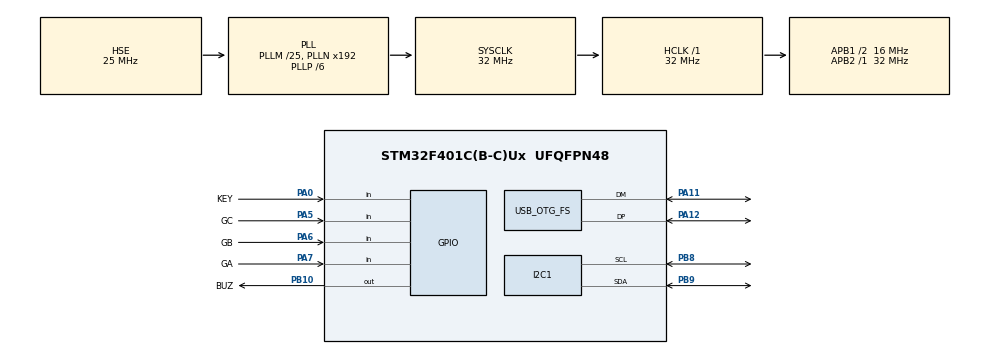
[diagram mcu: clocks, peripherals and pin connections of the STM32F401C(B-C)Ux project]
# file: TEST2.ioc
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Mcu.Family=STM32F4
Mcu.Name=STM32F401C(B-C)Ux
Mcu.Package=UFQFPN48
NVIC.OTG_FS_IRQn=true\:0\:0\:false\:false\:true\:false\:true
NVIC.PriorityGroup=NVIC_PRIORITYGROUP_4
PA0-WKUP.GPIO_Label=KEY
PA0-WKUP.GPIO_PuPd=GPIO_PULLUP
PA0-WKUP.Signal=GPIO_Input
PA11.Mode=Device_Only
PA11.Signal=USB_OTG_FS_DM
PA12.Mode=Device_Only
PA12.Signal=USB_OTG_FS_DP
PA13.Mode=Serial_Wire
PA13.Signal=SYS_JTMS-SWDIO
PA14.Mode=Serial_Wire
PA14.Signal=SYS_JTCK-SWCLK
PA5.GPIO_Label=GC
PA5.GPIO_PuPd=GPIO_PULLUP
PA5.Signal=GPIO_Input
PA6.GPIO_Label=GB
PA6.GPIO_PuPd=GPIO_PULLUP
PA6.Signal=GPIO_Input
PA7.GPIO_Label=GA
PA7.GPIO_PuPd=GPIO_PULLUP
PA7.Signal=GPIO_Input
PB10.GPIO_Label=BUZ
PB10.Signal=GPIO_Output
PB8.Mode=I2C
PB8.Signal=I2C1_SCL
PB9.Mode=I2C
PB9.Signal=I2C1_SDA
PC14-OSC32_IN.Mode=LSE-External-Oscillator
PC14-OSC32_IN.Signal=RCC_OSC32_IN
PC15-OSC32_OUT.Mode=LSE-External-Oscillator
PC15-OSC32_OUT.Signal=RCC_OSC32_OUT
PH0\ -\ OSC_IN.Mode=HSE-External-Oscillator
PH0\ -\ OSC_IN.Signal=RCC_OSC_IN
PH1\ -\ OSC_OUT.Mode=HSE-External-Oscillator
PH1\ -\ OSC_OUT.Signal=RCC_OSC_OUT
ProjectManager.HeapSize=0x200
ProjectManager.StackSize=0x400
ProjectManager.TargetToolchain=STM32CubeIDE
RCC.48MHZClocksFreq_Value=48000000
RCC.AHBFreq_Value=32000000
RCC.APB1CLKDivider=RCC_HCLK_DIV2
RCC.APB1Freq_Value=16000000
RCC.APB1TimFreq_Value=32000000
RCC.APB2Freq_Value=32000000
RCC.APB2TimFreq_Value=32000000
RCC.CortexFreq_Value=32000000
RCC.HCLKFreq_Value=32000000
RCC.HSE_VALUE=25000000
RCC.HSI_VALUE=16000000
RCC.PLLM=25
RCC.PLLP=RCC_PLLP_DIV6
RCC.RCC_RTC_Clock_Source=RCC_RTCCLKSOURCE_LSE
RCC.RCC_RTC_Clock_SourceVirtual=RCC_RTCCLKSOURCE_LSE
RCC.SYSCLKFreq_VALUE=32000000
RCC.SYSCLKSource=RCC_SYSCLKSOURCE_PLLCLK
RCC.VCOOutputFreq_Value=192000000
RTC.Date=18
RTC.Hours=12
RTC.Month=RTC_MONTH_FEBRUARY
RTC.WeekDay=RTC_WEEKDAY_FRIDAY
RTC.Year=22
USB_DEVICE.CLASS_NAME_FS=CDC
USB_DEVICE.VirtualMode=Cdc
USB_DEVICE.VirtualModeFS=Cdc_FS
USB_OTG_FS.VirtualMode=Device_Only
VP_RTC_VS_RTC_Activate.Mode=RTC_Enabled
VP_RTC_VS_RTC_Calendar.Mode=RTC_Calendar
VP_USB_DEVICE_VS_USB_DEVICE_CDC_FS.Mode=CDC_FS
board=custom

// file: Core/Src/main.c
/* USER CODE BEGIN Header */
/**
  ******************************************************************************
  * @file           : main.c
  * @brief          : Main program body
  ******************************************************************************
  * @attention
  *
  * Copyright (c) 2022 STMicroelectronics.
  * All rights reserved.
  *
  * This software is licensed under terms that can be found in the LICENSE file
  * in the root directory of this software component.
  * If no LICENSE file comes with this software, it is provided AS-IS.
  *
  ******************************************************************************
  */
/* USER CODE END Header */
#include "main.h"
#include "i2c.h"
#include "rtc.h"
#include "usb_device.h"
#include "gpio.h"

/* USER CODE BEGIN Includes */
#include "liquidcrystal_i2c.h"
/* USER CODE END Includes */

/* USER CODE BEGIN PD */
#define SWA (!HAL_GPIO_ReadPin(GA_GPIO_Port, GA_Pin))
#define SWB (!HAL_GPIO_ReadPin(GB_GPIO_Port, GB_Pin))
#define KEY (!HAL_GPIO_ReadPin(KEY_GPIO_Port, KEY_Pin))
/* USER CODE END PD */

/* USER CODE BEGIN PV */
uint8_t enc = 0;
int alarm_hour = 0;
int alarm_minute = 0;
int alarm_second = 0;
char lcd_alarm_time[8] = {0};
char lcd_alarm_hour[2] = {0};
char lcd_alarm_minute[2] = {0};
char lcd_alarm_second[2] = {0};
int old_alarm_hour = 0;
int old_alarm_minute = 0;
int old_alarm_second = 0;
uint8_t MSG[30] = {'\0'};
uint8_t oldBt = 0;
char lcdMsg[30] = {'\0'};
char status[5][20] = {"Alarm time",
		"Change hour",
		"Change minute",
		"Change second",
		"Present time"};
RTC_TimeTypeDef sTime;
char showTime[30] = {0};
uint8_t sFlag = RESET;
/* USER CODE END PV */

void SystemClock_Config(void);

/* USER CODE BEGIN 0 */
uint8_t rotaryEnc(void)
{
	uint8_t nowEnc = 0;
	uint8_t returnEnc = 0;
	static uint8_t oldEnc = 0;

	nowEnc = (SWB << 1) + SWA;

	if (oldEnc == 0 && nowEnc == 1) {
		returnEnc = 1; // CW
	} else if (oldEnc == 0 && nowEnc == 2) {
		returnEnc = 2; // CCW
	}

	oldEnc = nowEnc;

	return returnEnc;
}

void get_time(void)
{
	HAL_RTC_GetTime(&hrtc, &sTime, RTC_FORMAT_BIN);

	sprintf((char *)showTime, "%02d:%02d:%02d\r\n", sTime.Hours, sTime.Minutes, sTime.Seconds);
}
/* USER CODE END 0 */

int main(void)
{

  /* MCU Configuration--------------------------------------------------------*/

  /* Reset of all peripherals, Initializes the Flash interface and the Systick. */
  HAL_Init();

  /* Configure the system clock */
  SystemClock_Config();

  /* Initialize all configured peripherals */
  MX_GPIO_Init();
  MX_RTC_Init();
  MX_I2C1_Init();
  MX_USB_DEVICE_Init();
  /* USER CODE BEGIN 2 */
  LCD_Init();

  LCD_SetCursor(0, 0);
  LCD_Puts(0, 0, status[4]);
  /* USER CODE END 2 */

  /* Infinite loop */
  /* USER CODE BEGIN WHILE */
  while (1)
  {
	  enc = rotaryEnc();
	  static int index = 4;

	  if (index != 4) {
		if (index == 0) {
		  sprintf(lcd_alarm_time, "%02d:%02d:%02d", alarm_hour, alarm_minute, alarm_second);
		  LCD_Puts(0, 1, lcd_alarm_time);
		}

		if (enc == 1) {
			if (index == 1) {
				alarm_hour++;
				if (alarm_hour == 24)
					alarm_hour = 0;
			}
			if (index == 2) {
				alarm_minute++;
				if (alarm_minute == 60)
					alarm_minute = 0;
			}
			if (index == 3) {
				alarm_second++;
				if (alarm_second == 60)
					alarm_second = 0;
			}
		} else if (enc == 2) {
			if (index == 1) {
				alarm_hour--;
				if (alarm_hour == -1)
					alarm_hour = 23;
			}
			if (index == 2) {
				alarm_minute--;
				if (alarm_minute == -1)
					alarm_minute = 59;
			}
			if (index == 3) {
				alarm_second--;
				if (alarm_second == -1)
					alarm_second = 59;
			}
		}

		if (alarm_hour != old_alarm_hour) {
			sprintf(lcd_alarm_hour, "%02d", alarm_hour);
			LCD_Puts(0, 1, lcd_alarm_hour);
			old_alarm_hour = alarm_hour;
		}

		if (alarm_minute != old_alarm_minute) {
			sprintf(lcd_alarm_minute, ":%02d", alarm_minute);
			LCD_Puts(2, 1, lcd_alarm_minute);
			old_alarm_minute = alarm_minute;
		}

		if (alarm_second != old_alarm_second) {
			sprintf(lcd_alarm_second, ":%02d", alarm_second);
			LCD_Puts(5, 1, lcd_alarm_second);
			old_alarm_second = alarm_second;
		}
	  } else {
		  LCD_Puts(0, 1, showTime);
	  }

	  if (KEY != oldBt && KEY) {
		  index++;
		  if (index == 5) index = 0;

		  LCD_Puts(0, 0, "                ");
		  LCD_Puts(0, 0, status[index]);
	  }

	  oldBt = KEY;

	  get_time();

	  if (sTime.Hours == alarm_hour && sTime.Minutes == alarm_minute && sTime.Seconds == alarm_second) {
		  HAL_GPIO_WritePin(BUZ_GPIO_Port, BUZ_Pin, GPIO_PIN_SET);
	  } else {
		  HAL_GPIO_WritePin(BUZ_GPIO_Port, BUZ_Pin, GPIO_PIN_RESET);
	  }

	  HAL_Delay(10);
    /* USER CODE END WHILE */

  }
}

void SystemClock_Config(void)
{
  RCC_OscInitTypeDef RCC_OscInitStruct = {0};
  RCC_ClkInitTypeDef RCC_ClkInitStruct = {0};

  /** Configure the main internal regulator output voltage
  */
  __HAL_RCC_PWR_CLK_ENABLE();
  __HAL_PWR_VOLTAGESCALING_CONFIG(PWR_REGULATOR_VOLTAGE_SCALE2);
  /** Initializes the RCC Oscillators according to the specified parameters
  * in the RCC_OscInitTypeDef structure.
  */
  RCC_OscInitStruct.OscillatorType = RCC_OSCILLATORTYPE_HSE|RCC_OSCILLATORTYPE_LSE;
  RCC_OscInitStruct.HSEState = RCC_HSE_ON;
  RCC_OscInitStruct.LSEState = RCC_LSE_ON;
  RCC_OscInitStruct.PLL.PLLState = RCC_PLL_ON;
  RCC_OscInitStruct.PLL.PLLSource = RCC_PLLSOURCE_HSE;
  RCC_OscInitStruct.PLL.PLLM = 25;
  RCC_OscInitStruct.PLL.PLLN = 192;
  RCC_OscInitStruct.PLL.PLLP = RCC_PLLP_DIV6;
  RCC_OscInitStruct.PLL.PLLQ = 4;
  if (HAL_RCC_OscConfig(&RCC_OscInitStruct) != HAL_OK)
  {
    Error_Handler();
  }
  /** Initializes the CPU, AHB and APB buses clocks
  */
  RCC_ClkInitStruct.ClockType = RCC_CLOCKTYPE_HCLK|RCC_CLOCKTYPE_SYSCLK
                              |RCC_CLOCKTYPE_PCLK1|RCC_CLOCKTYPE_PCLK2;
  RCC_ClkInitStruct.SYSCLKSource = RCC_SYSCLKSOURCE_PLLCLK;
  RCC_ClkInitStruct.AHBCLKDivider = RCC_SYSCLK_DIV1;
  RCC_ClkInitStruct.APB1CLKDivider = RCC_HCLK_DIV2;
  RCC_ClkInitStruct.APB2CLKDivider = RCC_HCLK_DIV1;

  if (HAL_RCC_ClockConfig(&RCC_ClkInitStruct, FLASH_LATENCY_1) != HAL_OK)
  {
    Error_Handler();
  }
}

void Error_Handler(void)
{
  __disable_irq();
  while (1)
  {
  }
}
